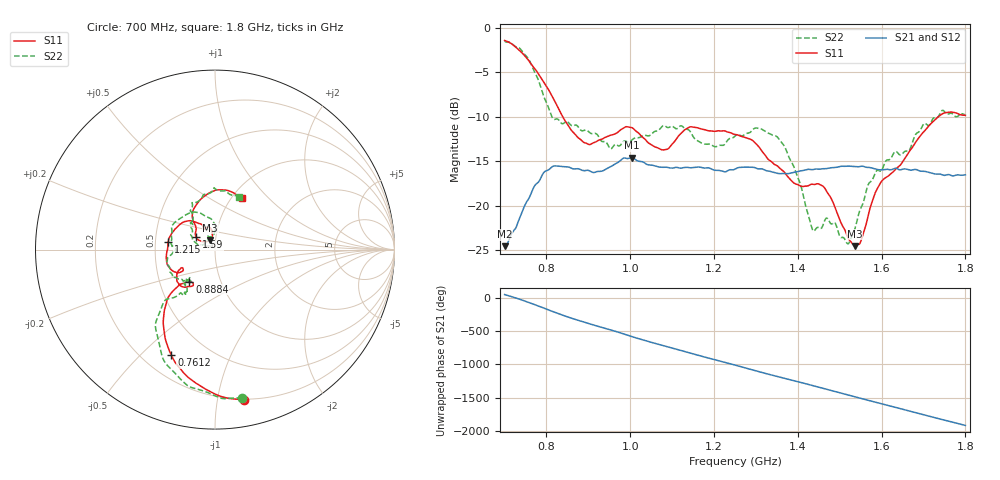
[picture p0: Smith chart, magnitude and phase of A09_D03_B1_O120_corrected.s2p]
! Created with skrf 1.9.0 (http://scikit-rf.org).
# Hz S RI R 50.0
!freq ReS11 ImS11 ReS21 ImS21 ReS12 ImS12 ReS22 ImS22
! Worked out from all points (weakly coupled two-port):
!   1601 points, 700 MHz to 1.8 GHz, reference 50 ohm
!   highest |S21| = -14.56 dB at 1.004 GHz (marker M1); lowest = -24.5 dB at 700.7 MHz (marker M2)
!   lowest |S11| = -24.5 dB at 1.536 GHz (marker M3), VSWR 1.13, Z = 47.1 + j5.04 ohm
!   |S11| at or under -10 dB: 839 MHz to 1.735 GHz (895.6 MHz wide, 69.6 % of centre)
!   |S22| runs from -24.3 to -1.5 dB; largest |S21 - S12| = 0.0035
!   S11 on the Smith chart (normalised r, x): 700 MHz: 0.20, -1.19; 761.2 MHz: 0.31, -0.62; 888.4 MHz: 0.71, -0.27; 1.215 GHz: 0.58, +0.05; 1.59 GHz: 0.80, +0.11; 1.8 GHz: 1.12, +0.71
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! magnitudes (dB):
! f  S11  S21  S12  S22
! 700 MHz  -1.4  -24.5  -24.3  -1.5
! 700.7 MHz  -1.4  -24.5  -24.2  -1.5
! 761.2 MHz  -3.9  -18.8  -18.7  -3.8
! 814.8 MHz  -7.8  -15.6  -15.6  -10.2
! 883.6 MHz  -12.6  -16.0  -15.9  -11.5
! 888.4 MHz  -12.8  -16.0  -15.9  -11.5
! 953 MHz  -12.0  -15.6  -15.6  -13.6
! 1.004 GHz  -11.2  -14.6  -14.7  -12.6
! 1.067 GHz  -13.5  -15.6  -15.5  -11.5
! 1.142 GHz  -11.1  -15.7  -15.7  -11.6
! 1.215 GHz  -11.6  -16.0  -16.0  -13.2
! 1.25 GHz  -12.0  -15.9  -15.8  -12.1
! 1.355 GHz  -15.6  -16.4  -16.3  -12.4
! 1.402 GHz  -17.6  -16.1  -16.1  -17.0
! 1.434 GHz  -17.6  -15.9  -15.9  -22.5
! 1.466 GHz  -18.1  -15.8  -15.8  -21.5
! 1.519 GHz  -23.5  -15.5  -15.5  -24.2
! 1.536 GHz  -24.5  -15.6  -15.6  -22.6
! 1.59 GHz  -18.0  -15.9  -15.9  -16.0
! 1.617 GHz  -16.6  -15.9  -15.9  -14.8
! 1.737 GHz  -9.9  -16.4  -16.5  -9.9
! 1.8 GHz  -9.8  -16.5  -16.5  -9.8
